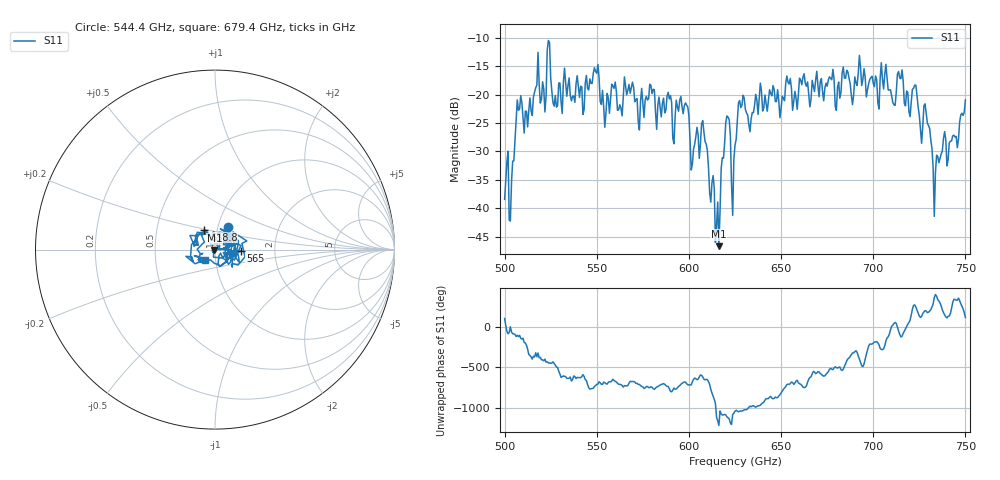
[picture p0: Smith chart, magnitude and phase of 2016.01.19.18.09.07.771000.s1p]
!Created with skrf (http://scikit-rf.org).
# GHz S RI R 50.0
!freq ReS11 ImS11
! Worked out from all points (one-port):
!   401 points, 500 GHz to 750 GHz, reference 50 ohm
!   lowest |S11| = -46.7 dB at 616.2 GHz (marker M1), VSWR 1.01, Z = 49.7 - j0.352 ohm
!   |S11| at or under -10 dB: start of sweep to end of sweep
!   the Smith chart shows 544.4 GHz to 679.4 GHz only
!   S11 on the Smith chart (normalised r, x): 544.4 GHz: 1.12, +0.29; 565 GHz: 1.33, -0.02; 638.8 GHz: 0.87, +0.20; 679.4 GHz: 0.89, -0.10
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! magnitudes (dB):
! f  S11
! 500 GHz  -38.4
! 503.8 GHz  -35.4
! 508.1 GHz  -22.6
! 521.2 GHz  -19.0
! 524.4 GHz  -10.9
! 527.5 GHz  -20.2
! 531.2 GHz  -23.3
! 544.4 GHz  -16.6
! 549.4 GHz  -16.0
! 562.5 GHz  -21.8
! 565 GHz  -16.9
! 593.8 GHz  -22.2
! 598.8 GHz  -21.9
! 601.9 GHz  -32.2
! 608.1 GHz  -26.5
! 616.2 GHz  -46.7
! 620.6 GHz  -23.8
! 625 GHz  -28.9
! 628.1 GHz  -22.3
! 638.8 GHz  -18.0
! 656.2 GHz  -22.8
! 679.4 GHz  -22.1
! 687.5 GHz  -18.1
! 714.4 GHz  -17.1
! 718.8 GHz  -19.6
! 728.8 GHz  -23.2
! 733.8 GHz  -33.7
! 750 GHz  -21.0
